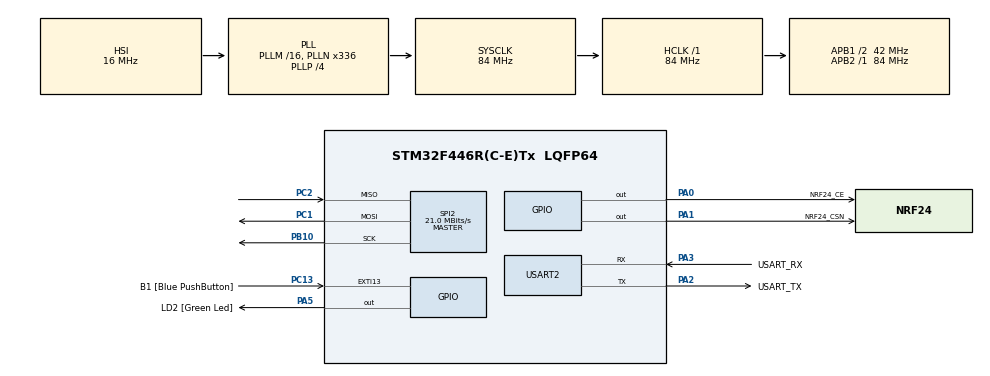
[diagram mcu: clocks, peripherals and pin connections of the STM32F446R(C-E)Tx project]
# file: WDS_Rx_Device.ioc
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Mcu.Family=STM32F4
Mcu.Name=STM32F446R(C-E)Tx
Mcu.Package=LQFP64
NVIC.PriorityGroup=NVIC_PRIORITYGROUP_0
PA0-WKUP.GPIO_Label=NRF24_CE
PA0-WKUP.Signal=GPIO_Output
PA1.GPIO_Label=NRF24_CSN
PA1.Signal=GPIO_Output
PA13.GPIO_Label=TMS
PA13.Mode=Serial_Wire
PA13.Signal=SYS_JTMS-SWDIO
PA14.GPIO_Label=TCK
PA14.Mode=Serial_Wire
PA14.Signal=SYS_JTCK-SWCLK
PA2.GPIO_Label=USART_TX
PA2.Mode=Asynchronous
PA2.Signal=USART2_TX
PA3.GPIO_Label=USART_RX
PA3.Mode=Asynchronous
PA3.Signal=USART2_RX
PA5.GPIO_Label=LD2 [Green Led]
PA5.Signal=GPIO_Output
PB10.Mode=Full_Duplex_Master
PB10.Signal=SPI2_SCK
PB3.GPIO_Label=SWO
PB3.Signal=SYS_JTDO-SWO
PC1.Mode=Full_Duplex_Master
PC1.Signal=SPI2_MOSI
PC13.GPIO_Label=B1 [Blue PushButton]
PC13.GPIO_ModeDefaultEXTI=GPIO_MODE_IT_FALLING
PC13.Signal=GPXTI13
PC14-OSC32_IN.Mode=LSE-External-Oscillator
PC14-OSC32_IN.Signal=RCC_OSC32_IN
PC15-OSC32_OUT.Mode=LSE-External-Oscillator
PC15-OSC32_OUT.Signal=RCC_OSC32_OUT
PC2.Mode=Full_Duplex_Master
PC2.Signal=SPI2_MISO
PH0-OSC_IN.Mode=HSE-External-Oscillator
PH0-OSC_IN.Signal=RCC_OSC_IN
PH1-OSC_OUT.Mode=HSE-External-Oscillator
PH1-OSC_OUT.Signal=RCC_OSC_OUT
ProjectManager.HeapSize=0x200
ProjectManager.StackSize=0x400
ProjectManager.TargetToolchain=SW4STM32
RCC.48MHZClocksFreq_Value=84000000
RCC.AHBFreq_Value=84000000
RCC.APB1CLKDivider=RCC_HCLK_DIV2
RCC.APB1Freq_Value=42000000
RCC.APB1TimFreq_Value=84000000
RCC.APB2Freq_Value=84000000
RCC.APB2TimFreq_Value=84000000
RCC.CortexFreq_Value=84000000
RCC.FLatency-AdvancedSettings=FLASH_LATENCY_2
RCC.HCLKFreq_Value=84000000
RCC.HSE_VALUE=8000000
RCC.HSI_VALUE=16000000
RCC.PLLN=336
RCC.PLLP=RCC_PLLP_DIV4
RCC.SYSCLKFreq_VALUE=84000000
RCC.SYSCLKSource=RCC_SYSCLKSOURCE_PLLCLK
RCC.USBFreq_Value=168000000
RCC.VCOOutputFreq_Value=336000000
SPI2.CalculateBaudRate=21.0 MBits/s
SPI2.Direction=SPI_DIRECTION_2LINES
SPI2.Mode=SPI_MODE_MASTER
SPI2.VirtualType=VM_MASTER
USART2.VirtualMode=VM_ASYNC
board=NUCLEO-F446RE

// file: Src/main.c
/* USER CODE BEGIN Header */
/**
  ******************************************************************************
  * @file           : main.c
  * @brief          : Main program body
  ******************************************************************************
  ** This notice applies to any and all portions of this file
  * that are not between comment pairs USER CODE BEGIN and
  * USER CODE END. Other portions of this file, whether
  * inserted by the user or by software development tools
  * are owned by their respective copyright owners.
  *
  * COPYRIGHT(c) 2019 STMicroelectronics
  *
  * Redistribution and use in source and binary forms, with or without modification,
  * are permitted provided that the following conditions are met:
  *   1. Redistributions of source code must retain the above copyright notice,
  *      this list of conditions and the following disclaimer.
  *   2. Redistributions in binary form must reproduce the above copyright notice,
  *      this list of conditions and the following disclaimer in the documentation
  *      and/or other materials provided with the distribution.
  *   3. Neither the name of STMicroelectronics nor the names of its contributors
  *      may be used to endorse or promote products derived from this software
  *      without specific prior written permission.
  *
  * THIS SOFTWARE IS PROVIDED BY THE COPYRIGHT HOLDERS AND CONTRIBUTORS "AS IS"
  * AND ANY EXPRESS OR IMPLIED WARRANTIES, INCLUDING, BUT NOT LIMITED TO, THE
  * IMPLIED WARRANTIES OF MERCHANTABILITY AND FITNESS FOR A PARTICULAR PURPOSE ARE
  * DISCLAIMED. IN NO EVENT SHALL THE COPYRIGHT HOLDER OR CONTRIBUTORS BE LIABLE
  * FOR ANY DIRECT, INDIRECT, INCIDENTAL, SPECIAL, EXEMPLARY, OR CONSEQUENTIAL
  * DAMAGES (INCLUDING, BUT NOT LIMITED TO, PROCUREMENT OF SUBSTITUTE GOODS OR
  * SERVICES; LOSS OF USE, DATA, OR PROFITS; OR BUSINESS INTERRUPTION) HOWEVER
  * CAUSED AND ON ANY THEORY OF LIABILITY, WHETHER IN CONTRACT, STRICT LIABILITY,
  * OR TORT (INCLUDING NEGLIGENCE OR OTHERWISE) ARISING IN ANY WAY OUT OF THE USE
  * OF THIS SOFTWARE, EVEN IF ADVISED OF THE POSSIBILITY OF SUCH DAMAGE.
  *
  ******************************************************************************
  */
/* USER CODE END Header */

#include "main.h"

/* USER CODE BEGIN Includes */
#include "nrf24.h"
/* USER CODE END Includes */

SPI_HandleTypeDef hspi2;

UART_HandleTypeDef huart2;

void SystemClock_Config(void);
static void MX_GPIO_Init(void);
static void MX_USART2_UART_Init(void);
static void MX_SPI2_Init(void);

/* USER CODE BEGIN 0 */
void init_nrf(void){
	uint8_t ADDR[] = { 'n', 'R', 'F', '2', '4' }; // the address for RX pipe
	nRF24_SetRFChannel(90); // set RF channel to 2490MHz
	nRF24_SetDataRate(nRF24_DR_2Mbps); // 2Mbit/s data rate
	nRF24_SetCRCScheme(nRF24_CRC_1byte); // 1-byte CRC scheme
	nRF24_SetAddrWidth(5); // address width is 5 bytes
	nRF24_SetAddr(nRF24_PIPE1, ADDR); // program pipe address
	nRF24_SetRXPipe(nRF24_PIPE1, nRF24_AA_ON, 6); // enable RX pipe#1 with Auto-ACK: enabled, payload length: 10 bytes
	nRF24_SetTXPower(nRF24_TXPWR_0dBm); // configure TX power for Auto-ACK, good choice - same power level as on transmitter
	nRF24_SetOperationalMode(nRF24_MODE_RX); // switch transceiver to the RX mode
	nRF24_ClearIRQFlags(); // Clear any pending IRQ flags
	nRF24_SetPowerMode(nRF24_PWR_UP); // wake-up transceiver (in case if it sleeping)
	// then pull CE pin to HIGH, and the nRF24 will start a receive...
}
/* USER CODE END 0 */

int main(void)
{

  /* MCU Configuration--------------------------------------------------------*/

  /* Reset of all peripherals, Initializes the Flash interface and the Systick. */
  HAL_Init();

  /* Configure the system clock */
  SystemClock_Config();

  /* Initialize all configured peripherals */
  MX_GPIO_Init();
  MX_USART2_UART_Init();
  MX_SPI2_Init();
  /* USER CODE BEGIN 2 */
  uint8_t uart_buf[256];
  uint32_t uart_len;

  int16_t nRF24_payload[32]; // buffer for payload
  uint8_t payload_length; // variable to store a length of received payload
  uint8_t pipe; // pipe number
  init_nrf();
  nRF24_CE_H(); // start receiving
  /* USER CODE END 2 */

  /* Infinite loop */
  /* USER CODE BEGIN WHILE */
	while (1) {

		if (nRF24_GetStatus_RXFIFO() != nRF24_STATUS_RXFIFO_EMPTY) {
			// Get a payload from the transceiver
			pipe = nRF24_ReadPayload(nRF24_payload, &payload_length);

			// Clear all pending IRQ flags
			nRF24_ClearIRQFlags();

			// Print a payload contents to UART

			 uart_len = sprintf(uart_buf, "ACC: x: %d, y: %d, z: %d\r\n",
					 nRF24_payload[0], nRF24_payload[1],	 nRF24_payload[2]);

			HAL_UART_Transmit(&huart2, uart_buf, uart_len, 1000);
		}
		//HAL_UART_Transmit(&huart2, "Empty\r\n", sizeof("Empty\r\n"), 1000);
		HAL_Delay(2);

		/* USER CODE END WHILE */

	}
}

void SystemClock_Config(void)
{
  RCC_OscInitTypeDef RCC_OscInitStruct = {0};
  RCC_ClkInitTypeDef RCC_ClkInitStruct = {0};

  /**Configure the main internal regulator output voltage
  */
  __HAL_RCC_PWR_CLK_ENABLE();
  __HAL_PWR_VOLTAGESCALING_CONFIG(PWR_REGULATOR_VOLTAGE_SCALE3);
  /**Initializes the CPU, AHB and APB busses clocks
  */
  RCC_OscInitStruct.OscillatorType = RCC_OSCILLATORTYPE_HSI;
  RCC_OscInitStruct.HSIState = RCC_HSI_ON;
  RCC_OscInitStruct.HSICalibrationValue = RCC_HSICALIBRATION_DEFAULT;
  RCC_OscInitStruct.PLL.PLLState = RCC_PLL_ON;
  RCC_OscInitStruct.PLL.PLLSource = RCC_PLLSOURCE_HSI;
  RCC_OscInitStruct.PLL.PLLM = 16;
  RCC_OscInitStruct.PLL.PLLN = 336;
  RCC_OscInitStruct.PLL.PLLP = RCC_PLLP_DIV4;
  RCC_OscInitStruct.PLL.PLLQ = 2;
  RCC_OscInitStruct.PLL.PLLR = 2;
  if (HAL_RCC_OscConfig(&RCC_OscInitStruct) != HAL_OK)
  {
    Error_Handler();
  }
  /**Initializes the CPU, AHB and APB busses clocks
  */
  RCC_ClkInitStruct.ClockType = RCC_CLOCKTYPE_HCLK|RCC_CLOCKTYPE_SYSCLK
                              |RCC_CLOCKTYPE_PCLK1|RCC_CLOCKTYPE_PCLK2;
  RCC_ClkInitStruct.SYSCLKSource = RCC_SYSCLKSOURCE_PLLCLK;
  RCC_ClkInitStruct.AHBCLKDivider = RCC_SYSCLK_DIV1;
  RCC_ClkInitStruct.APB1CLKDivider = RCC_HCLK_DIV2;
  RCC_ClkInitStruct.APB2CLKDivider = RCC_HCLK_DIV1;

  if (HAL_RCC_ClockConfig(&RCC_ClkInitStruct, FLASH_LATENCY_2) != HAL_OK)
  {
    Error_Handler();
  }
}

static void MX_SPI2_Init(void)
{

  /* SPI2 parameter configuration*/
  hspi2.Instance = SPI2;
  hspi2.Init.Mode = SPI_MODE_MASTER;
  hspi2.Init.Direction = SPI_DIRECTION_2LINES;
  hspi2.Init.DataSize = SPI_DATASIZE_8BIT;
  hspi2.Init.CLKPolarity = SPI_POLARITY_LOW;
  hspi2.Init.CLKPhase = SPI_PHASE_1EDGE;
  hspi2.Init.NSS = SPI_NSS_SOFT;
  hspi2.Init.BaudRatePrescaler = SPI_BAUDRATEPRESCALER_2;
  hspi2.Init.FirstBit = SPI_FIRSTBIT_MSB;
  hspi2.Init.TIMode = SPI_TIMODE_DISABLE;
  hspi2.Init.CRCCalculation = SPI_CRCCALCULATION_DISABLE;
  hspi2.Init.CRCPolynomial = 10;
  if (HAL_SPI_Init(&hspi2) != HAL_OK)
  {
    Error_Handler();
  }

}

static void MX_USART2_UART_Init(void)
{

  huart2.Instance = USART2;
  huart2.Init.BaudRate = 115200;
  huart2.Init.WordLength = UART_WORDLENGTH_8B;
  huart2.Init.StopBits = UART_STOPBITS_1;
  huart2.Init.Parity = UART_PARITY_NONE;
  huart2.Init.Mode = UART_MODE_TX_RX;
  huart2.Init.HwFlowCtl = UART_HWCONTROL_NONE;
  huart2.Init.OverSampling = UART_OVERSAMPLING_16;
  if (HAL_UART_Init(&huart2) != HAL_OK)
  {
    Error_Handler();
  }

}

static void MX_GPIO_Init(void)
{
  GPIO_InitTypeDef GPIO_InitStruct = {0};

  /* GPIO Ports Clock Enable */
  __HAL_RCC_GPIOC_CLK_ENABLE();
  __HAL_RCC_GPIOH_CLK_ENABLE();
  __HAL_RCC_GPIOA_CLK_ENABLE();
  __HAL_RCC_GPIOB_CLK_ENABLE();

  /*Configure GPIO pin Output Level */
  HAL_GPIO_WritePin(GPIOA, NRF24_CE_Pin|NRF24_CSN_Pin|LD2_Pin, GPIO_PIN_RESET);

  /*Configure GPIO pin : B1_Pin */
  GPIO_InitStruct.Pin = B1_Pin;
  GPIO_InitStruct.Mode = GPIO_MODE_IT_FALLING;
  GPIO_InitStruct.Pull = GPIO_NOPULL;
  HAL_GPIO_Init(B1_GPIO_Port, &GPIO_InitStruct);

  /*Configure GPIO pins : NRF24_CE_Pin NRF24_CSN_Pin LD2_Pin */
  GPIO_InitStruct.Pin = NRF24_CE_Pin|NRF24_CSN_Pin|LD2_Pin;
  GPIO_InitStruct.Mode = GPIO_MODE_OUTPUT_PP;
  GPIO_InitStruct.Pull = GPIO_NOPULL;
  GPIO_InitStruct.Speed = GPIO_SPEED_FREQ_LOW;
  HAL_GPIO_Init(GPIOA, &GPIO_InitStruct);

}

void Error_Handler(void)
{
}

/************************ (C) COPYRIGHT STMicroelectronics *****END OF FILE****/
